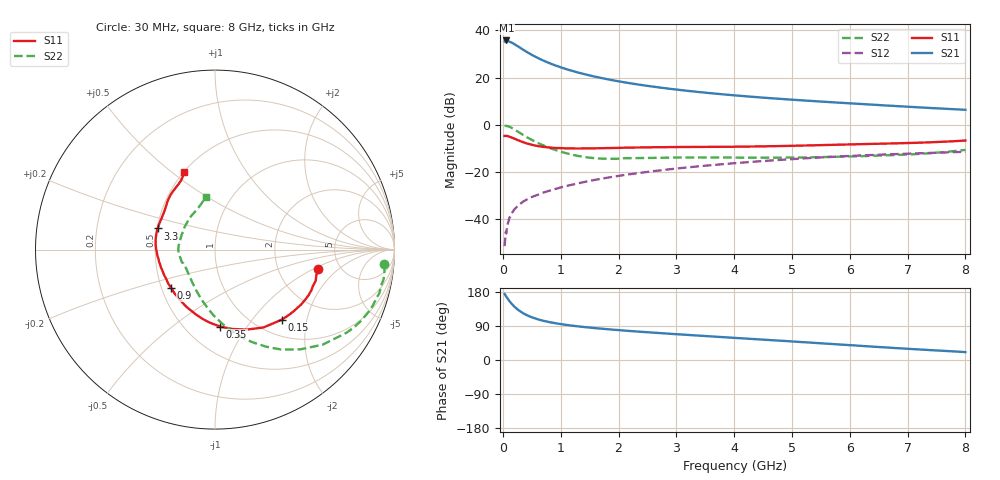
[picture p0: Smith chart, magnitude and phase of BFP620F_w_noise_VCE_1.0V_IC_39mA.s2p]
! Infineon Technologies  Discrete & RF Semiconductors
! BFP620F
! VCE =  1.0 V,  IC =  39 mA
! Common Emitter S-Parameters:  Dec 2014
# GHz  S  MA  R  50
!  f  S11  S21  S12  S22
! GHz  MAG  ANG  MAG  ANG  MAG  ANG  MAG  ANG
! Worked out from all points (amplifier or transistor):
!   95 points, 30 MHz to 8 GHz, reference 50 ohm
!   highest |S21| = 35.7 dB at 60 MHz (marker M1)
!   |S21| within 3 dB of that: start of sweep to 293.2 MHz
!   unconditionally stable (mu >= 1): 2.174 GHz to end of sweep
!   at 300 MHz: K = 0.44, MSG = 33.1 dB, |S12| = -33.5 dB
!   at 3.3 GHz: K = 1.03, MAG = 15.0 dB, |S12| = -17.8 dB
!   at 8 GHz: K = 1.05, MAG = 7.5 dB, |S12| = -11.4 dB
!   lowest NFmin = 1.34 dB at 450 MHz
!   S11 on the Smith chart (normalised r, x): 30 MHz: 3.39, -1.11; 150 MHz: 1.30, -1.43; 350 MHz: 0.72, -0.76; 900 MHz: 0.56, -0.27; 3.3 GHz: 0.50, +0.13; 8 GHz: 0.50, +0.55
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0.03  0.582 -10.7  58.68 174.1  0.0027 95.3  0.9478 -5.0
0.06  0.5823 -20.4  61.22 167.2  0.005 72.4  0.9467 -12.3
0.08  0.5797 -26.2  60.79 162.5  0.0077 79.4  0.9384 -17.1
0.1  0.5694 -32.5  59.01 158.2  0.0092 82.4  0.9249 -21.7
0.15  0.5397 -46.3  55.33 148.8  0.0133 75.1  0.8669 -32.3
0.2  0.511 -58.1  51.04 140.8  0.0163 71.4  0.7998 -41.5
0.25  0.4794 -68.4  46.82 134.0  0.0188 66.9  0.7324 -49.3
0.3  0.4533 -77.5  42.82 128.3  0.0212 65.5  0.67 -56.3
0.35  0.43 -86.1  39.02 123.5  0.0237 65.1  0.6127 -62.1
0.45  0.3934 -99.7  32.97 115.8  0.0276 62.9  0.5197 -72.2
0.6  0.3567 -116.5  26.23 107.6  0.0329 62.6  0.4158 -84.3
0.7  0.3415 -125.1  22.97 103.5  0.0367 62.8  0.3669 -91.2
0.9  0.3244 -138.9  18.25 97.3  0.0436 62.8  0.2958 -103.4
1.1  0.3169 -149.7  15.07 92.6  0.0508 63.3  0.2496 -114.9
1.4  0.3169 -161.6  11.92 87.1  0.0614 63.1  0.2097 -130.8
2  0.3254 -178.3  8.36 78.9  0.083 61.9  0.1916 -156.7
2.7  0.3364 168.6  6.201 71.2  0.108 58.4  0.2004 -171.5
3.3  0.3409 159.8  5.087 65.2  0.1294 55.1  0.2038 -179.7
4.1  0.3454 149.4  4.121 57.5  0.1574 50.0  0.2023 170.2
5.4  0.3696 136.9  3.171 45.1  0.2012 40.6  0.2065 148.8
6.7  0.4033 124.4  2.541 32.4  0.2379 30.3  0.2281 126.2
8  0.4651 111.6  2.084 20.8  0.2687 20.5  0.2956 100.3
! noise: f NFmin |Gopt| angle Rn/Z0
0.45  1.34  0.14  -173  0.16
0.9  1.36  0.14  -172  0.13
1.5  1.37  0.19  -151  0.11
1.8  1.38  0.19  -151  0.12
1.9  1.39  0.19  -150  0.12
2.4  1.41  0.2  214  0.14
3.5  1.47  0.2  220  0.17
5.5  1.61  0.26  246  0.16
6  1.65  0.27  261  0.2
